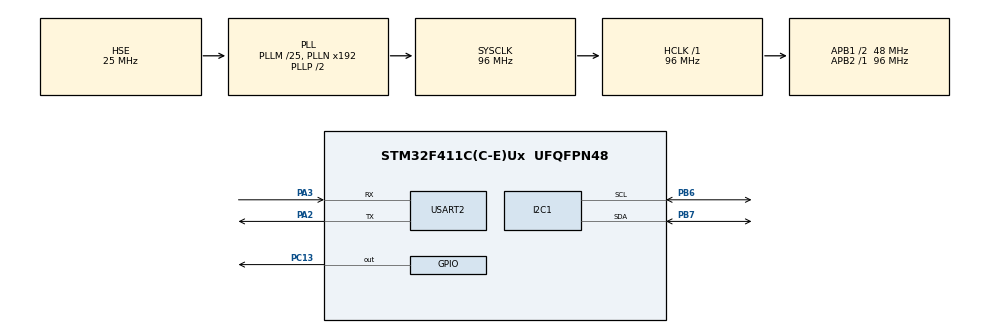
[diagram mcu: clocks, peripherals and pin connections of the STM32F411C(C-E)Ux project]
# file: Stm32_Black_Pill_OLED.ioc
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Mcu.Family=STM32F4
Mcu.Name=STM32F411C(C-E)Ux
Mcu.Package=UFQFPN48
NVIC.PriorityGroup=NVIC_PRIORITYGROUP_4
NVIC.USART2_IRQn=true\:0\:0\:false\:false\:true\:true\:true\:true
PA13.Mode=Serial_Wire
PA13.Signal=SYS_JTMS-SWDIO
PA14.Mode=Serial_Wire
PA14.Signal=SYS_JTCK-SWCLK
PA2.Mode=Asynchronous
PA2.Signal=USART2_TX
PA3.Mode=Asynchronous
PA3.Signal=USART2_RX
PB6.Mode=I2C
PB6.Signal=I2C1_SCL
PB7.Mode=I2C
PB7.Signal=I2C1_SDA
PC13-ANTI_TAMP.Signal=GPIO_Output
PH0\ -\ OSC_IN.Mode=HSE-External-Oscillator
PH0\ -\ OSC_IN.Signal=RCC_OSC_IN
PH1\ -\ OSC_OUT.Mode=HSE-External-Oscillator
PH1\ -\ OSC_OUT.Signal=RCC_OSC_OUT
ProjectManager.HeapSize=0x200
ProjectManager.StackSize=0x400
ProjectManager.TargetToolchain=MDK-ARM V5.32
RCC.48MHZClocksFreq_Value=48000000
RCC.AHBFreq_Value=96000000
RCC.APB1CLKDivider=RCC_HCLK_DIV2
RCC.APB1Freq_Value=48000000
RCC.APB1TimFreq_Value=96000000
RCC.APB2Freq_Value=96000000
RCC.APB2TimFreq_Value=96000000
RCC.CortexFreq_Value=96000000
RCC.HCLKFreq_Value=96000000
RCC.HSE_VALUE=25000000
RCC.HSI_VALUE=16000000
RCC.LSE_VALUE=32768
RCC.PLLM=25
RCC.PLLSourceVirtual=RCC_PLLSOURCE_HSE
RCC.SYSCLKFreq_VALUE=96000000
RCC.SYSCLKSource=RCC_SYSCLKSOURCE_PLLCLK
RCC.VCOOutputFreq_Value=192000000
USART2.VirtualMode=VM_ASYNC
board=custom

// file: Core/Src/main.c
/* USER CODE BEGIN Header */
/**
  ******************************************************************************
  * @file           : main.c
  * @brief          : Main program body
  ******************************************************************************
  * @attention
  *
  * Copyright (c) 2024 STMicroelectronics.
  * All rights reserved.
  *
  * This software is licensed under terms that can be found in the LICENSE file
  * in the root directory of this software component.
  * If no LICENSE file comes with this software, it is provided AS-IS.
  *
  ******************************************************************************
  */
/* USER CODE END Header */
#include "main.h"

/* USER CODE BEGIN PD */
#define I2C_ADDRESS       0x78
#define I2C_ID_ADDRESS    0xD0
#define I2C_TIMEOUT       10

#define OLED_adress 0x78
#define OLED_SETCONTRAST 0x81
#define OLED_DISPLAYALLON_RESUME 0xA4
#define OLED_DISPLAYALLON 0xA5
#define OLED_NORMALDISPLAY 0xA6
#define OLED_INVERTDISPLAY 0xA7
#define OLED_DISPLAYOFF 0xAE
#define OLED_DISPLAYON 0xAF
#define OLED_SETDISPLAYOFFSET 0xD3
#define OLED_SETCOMPINS 0xDA
#define OLED_SETVCOMDETECT 0xDB
#define OLED_SETDISPLAYCLOCKDIV 0xD5
#define OLED_SETPRECHARGE 0xD9
#define OLED_SETMULTIPLEX 0xA8
#define OLED_SETLOWCOLUMN 0x00
#define OLED_SETHIGHCOLUMN 0x10
#define OLED_SETSTARTLINE 0x40
#define OLED_MEMORYMODE 0x20
#define OLED_COLUMNADDR 0x21
#define OLED_PAGEADDR 0x22
#define OLED_COMSCANINC 0xC0
#define OLED_COMSCANDEC 0xC8
#define OLED_SEGREMAP 0xA0
#define OLED_CHARGEPUMP 0x8D
#define OLED_SWITCHCAPVCC 0x2
#define OLED_NOP 0xE3

#define OLED_WIDTH 128
#define OLED_HEIGHT 32
#define OLED_BUFFERSIZE (OLED_WIDTH*OLED_HEIGHT)/8
#define OLED_DEFAULT_SPACE 5

#define COMAND 0x00
#define DATA 0x40
/* USER CODE END PD */

// I2C struct
I2C_HandleTypeDef hi2c1;

// UART struct
UART_HandleTypeDef huart2;

// Byte array to receive
uint8_t reciverBuffer[128];
// Received bytes counter
uint8_t bytesRecivedCounter=1;
// Receive successfull flag
uint8_t dataReceived=0;

uint8_t temp[2] = {0,0};
uint8_t temp_char[7] = {0,0,0,0,0,0,0};
unsigned char LCD_X, LCD_Y;

// ASCII table
unsigned char LCD_Buffer[0x0500] = {
	0x00, 0x00, 0x00, 0x00, 0x00,// 00
	0x00, 0x00, 0x5F, 0x00, 0x00,// 01
	0x00, 0x07, 0x00, 0x07, 0x00,// 02
	0x14, 0x7F, 0x14, 0x7F, 0x14,// 03
	0x24, 0x2A, 0x7F, 0x2A, 0x12,// 04
	0x23, 0x13, 0x08, 0x64, 0x62,// 05
	0x36, 0x49, 0x55, 0x22, 0x50,// 06
	0x00, 0x05, 0x03, 0x00, 0x00,// 07
	0x00, 0x1C, 0x22, 0x41, 0x00,// 08
	0x00, 0x41, 0x22, 0x1C, 0x00,// 09
	0x14, 0x08, 0x3E, 0x08, 0x14,// 0A
	0x08, 0x08, 0x3E, 0x08, 0x08,// 0B
	0x00, 0x50, 0x30, 0x00, 0x00,// 0C
	0x08, 0x08, 0x08, 0x08, 0x08,// 0D
	0x00, 0x60, 0x60, 0x00, 0x00,// 0E
	0x20, 0x10, 0x08, 0x04, 0x02,// 0F
	0x00, 0x00, 0x00, 0x00, 0x00,// 10
	0x00, 0x00, 0x5F, 0x00, 0x00,// 11
	0x00, 0x07, 0x00, 0x07, 0x00,// 12
	0x14, 0x7F, 0x14, 0x7F, 0x14,// 13
	0x24, 0x2A, 0x7F, 0x2A, 0x12,// 14
	0x23, 0x13, 0x08, 0x64, 0x62,// 15
	0x36, 0x49, 0x55, 0x22, 0x50,// 16
	0x00, 0x05, 0x03, 0x00, 0x00,// 17
	0x00, 0x1C, 0x22, 0x41, 0x00,// 18
	0x00, 0x41, 0x22, 0x1C, 0x00,// 19
	0x14, 0x08, 0x3E, 0x08, 0x14,// 1A
	0x08, 0x08, 0x3E, 0x08, 0x08,// 1B
	0x00, 0x50, 0x30, 0x00, 0x00,// 1C
	0x08, 0x08, 0x08, 0x08, 0x08,// 1D
	0x00, 0x60, 0x60, 0x00, 0x00,// 1E
	0x20, 0x10, 0x08, 0x04, 0x02,// 1F
	0x00, 0x00, 0x00, 0x00, 0x00,// 20 space
	0x00, 0x00, 0x5F, 0x00, 0x00,// 21 !
	0x00, 0x07, 0x00, 0x07, 0x00,// 22 "
	0x14, 0x7F, 0x14, 0x7F, 0x14,// 23 #
	0x24, 0x2A, 0x7F, 0x2A, 0x12,// 24 $
	0x23, 0x13, 0x08, 0x64, 0x62,// 25 %
	0x36, 0x49, 0x55, 0x22, 0x50,// 26 &
	0x00, 0x05, 0x03, 0x00, 0x00,// 27 '
	0x00, 0x1C, 0x22, 0x41, 0x00,// 28 (
	0x00, 0x41, 0x22, 0x1C, 0x00,// 29 )
	0x14, 0x08, 0x3E, 0x08, 0x14,// 2a *
	0x08, 0x08, 0x3E, 0x08, 0x08,// 2b +
	0x00, 0x50, 0x30, 0x00, 0x00,// 2c ,
	0x08, 0x08, 0x08, 0x08, 0x08,// 2d -
	0x00, 0x60, 0x60, 0x00, 0x00,// 2e .
	0x20, 0x10, 0x08, 0x04, 0x02,// 2f /
	0x3E, 0x51, 0x49, 0x45, 0x3E,// 30 0
	0x00, 0x42, 0x7F, 0x40, 0x00,// 31 1
	0x42, 0x61, 0x51, 0x49, 0x46,// 32 2
	0x21, 0x41, 0x45, 0x4B, 0x31,// 33 3
	0x18, 0x14, 0x12, 0x7F, 0x10,// 34 4
	0x27, 0x45, 0x45, 0x45, 0x39,// 35 5
	0x3C, 0x4A, 0x49, 0x49, 0x30,// 36 6
	0x01, 0x71, 0x09, 0x05, 0x03,// 37 7
	0x36, 0x49, 0x49, 0x49, 0x36,// 38 8
	0x06, 0x49, 0x49, 0x29, 0x1E,// 39 9
	0x00, 0x36, 0x36, 0x00, 0x00,// 3a :
	0x00, 0x56, 0x36, 0x00, 0x00,// 3b ;
	0x08, 0x14, 0x22, 0x41, 0x00,// 3c <
	0x14, 0x14, 0x14, 0x14, 0x14,// 3d =
	0x00, 0x41, 0x22, 0x14, 0x08,// 3e >
	0x02, 0x01, 0x51, 0x09, 0x06,// 3f ?
	0x32, 0x49, 0x79, 0x41, 0x3E,// 40 @
	0x7E, 0x11, 0x11, 0x11, 0x7E,// 41 A
	0x7F, 0x49, 0x49, 0x49, 0x36,// 42 B
	0x3E, 0x41, 0x41, 0x41, 0x22,// 43 C
	0x7F, 0x41, 0x41, 0x22, 0x1C,// 44 D
	0x7F, 0x49, 0x49, 0x49, 0x41,// 45 E
	0x7F, 0x09, 0x09, 0x09, 0x01,// 46 F
	0x3E, 0x41, 0x49, 0x49, 0x7A,// 47 G
	0x7F, 0x08, 0x08, 0x08, 0x7F,// 48 H
	0x00, 0x41, 0x7F, 0x41, 0x00,// 49 I
	0x20, 0x40, 0x41, 0x3F, 0x01,// 4a J
	0x7F, 0x08, 0x14, 0x22, 0x41,// 4b K
	0x7F, 0x40, 0x40, 0x40, 0x40,// 4c L
	0x7F, 0x02, 0x0C, 0x02, 0x7F,// 4d M
	0x7F, 0x04, 0x08, 0x10, 0x7F,// 4e N
	0x3E, 0x41, 0x41, 0x41, 0x3E,// 4f O
	0x7F, 0x09, 0x09, 0x09, 0x06,// 50 P
	0x3E, 0x41, 0x51, 0x21, 0x5E,// 51 Q
	0x7F, 0x09, 0x19, 0x29, 0x46,// 52 R
	0x46, 0x49, 0x49, 0x49, 0x31,// 53 S
	0x01, 0x01, 0x7F, 0x01, 0x01,// 54 T
	0x3F, 0x40, 0x40, 0x40, 0x3F,// 55 U
	0x1F, 0x20, 0x40, 0x20, 0x1F,// 56 V
	0x3F, 0x40, 0x38, 0x40, 0x3F,// 57 W
	0x63, 0x14, 0x08, 0x14, 0x63,// 58 X
	0x07, 0x08, 0x70, 0x08, 0x07,// 59 Y
	0x61, 0x51, 0x49, 0x45, 0x43,// 5a Z
	0x00, 0x7F, 0x41, 0x41, 0x00,// 5b [
	0x02, 0x04, 0x08, 0x10, 0x20,// 5c Yen Currency Sign
	0x00, 0x41, 0x41, 0x7F, 0x00,// 5d ]
	0x04, 0x02, 0x01, 0x02, 0x04,// 5e ^
	0x40, 0x40, 0x40, 0x40, 0x40,// 5f _
	0x00, 0x01, 0x02, 0x04, 0x00,// 60 `
	0x20, 0x54, 0x54, 0x54, 0x78,// 61 a
	0x7F, 0x48, 0x44, 0x44, 0x38,// 62 b
	0x38, 0x44, 0x44, 0x44, 0x20,// 63 c
	0x38, 0x44, 0x44, 0x48, 0x7F,// 64 d
	0x38, 0x54, 0x54, 0x54, 0x18,// 65 e
	0x08, 0x7E, 0x09, 0x01, 0x02,// 66 f
	0x0C, 0x52, 0x52, 0x52, 0x3E,// 67 g
	0x7F, 0x08, 0x04, 0x04, 0x78,// 68 h
	0x00, 0x44, 0x7D, 0x40, 0x00,// 69 i
	0x20, 0x40, 0x44, 0x3D, 0x00,// 6a j
	0x7F, 0x10, 0x28, 0x44, 0x00,// 6b k
	0x00, 0x41, 0x7F, 0x40, 0x00,// 6c l
	0x7C, 0x04, 0x18, 0x04, 0x78,// 6d m
	0x7C, 0x08, 0x04, 0x04, 0x78,// 6e n
	0x38, 0x44, 0x44, 0x44, 0x38,// 6f o
	0x7C, 0x14, 0x14, 0x14, 0x08,// 70 p
	0x08, 0x14, 0x14, 0x18, 0x7C,// 71 q
	0x7C, 0x08, 0x04, 0x04, 0x08,// 72 r
	0x08, 0x54, 0x54, 0x54, 0x20,// 73 s
	0x04, 0x3F, 0x44, 0x40, 0x20,// 74 t
	0x3C, 0x40, 0x40, 0x20, 0x7C,// 75 u
	0x1C, 0x20, 0x40, 0x20, 0x1C,// 76 v
	0x3C, 0x40, 0x30, 0x40, 0x3C,// 77 w
	0x44, 0x28, 0x10, 0x28, 0x44,// 78 x
	0x0C, 0x50, 0x50, 0x50, 0x3C,// 79 y
	0x44, 0x64, 0x54, 0x4C, 0x44,// 7a z
	0x00, 0x08, 0x36, 0x41, 0x00,// 7b <
	0x00, 0x00, 0x7F, 0x00, 0x00,// 7c |
	0x00, 0x41, 0x36, 0x08, 0x00,// 7d >
	0x10, 0x08, 0x08, 0x10, 0x08,// 7e Right Arrow ->
	0x78, 0x46, 0x41, 0x46, 0x78,// 7f Left Arrow <-
	0x00, 0x00, 0x00, 0x00, 0x00,// 80
	0x00, 0x00, 0x5F, 0x00, 0x00,// 81
	0x00, 0x07, 0x00, 0x07, 0x00,// 82
	0x14, 0x7F, 0x14, 0x7F, 0x14,// 83
	0x24, 0x2A, 0x7F, 0x2A, 0x12,// 84
	0x23, 0x13, 0x08, 0x64, 0x62,// 85
	0x36, 0x49, 0x55, 0x22, 0x50,// 86
	0x00, 0x05, 0x03, 0x00, 0x00,// 87
	0x00, 0x1C, 0x22, 0x41, 0x00,// 88
	0x00, 0x41, 0x22, 0x1C, 0x00,// 89
	0x14, 0x08, 0x3E, 0x08, 0x14,// 8A
	0x08, 0x08, 0x3E, 0x08, 0x08,// 8B
	0x00, 0x50, 0x30, 0x00, 0x00,// 8C
	0x08, 0x08, 0x08, 0x08, 0x08,// 8D
	0x00, 0x60, 0x60, 0x00, 0x00,// 8E
	0x20, 0x10, 0x08, 0x04, 0x02,// 8F
	0x00, 0x00, 0x00, 0x00, 0x00,// 90
	0x00, 0x00, 0x5F, 0x00, 0x00,// 91
	0x00, 0x07, 0x00, 0x07, 0x00,// 92
	0x14, 0x7F, 0x14, 0x7F, 0x14,// 93
	0x24, 0x2A, 0x7F, 0x2A, 0x12,// 94
	0x23, 0x13, 0x08, 0x64, 0x62,// 95
	0x36, 0x49, 0x55, 0x22, 0x50,// 96
	0x00, 0x05, 0x03, 0x00, 0x00,// 97
	0x00, 0x1C, 0x22, 0x41, 0x00,// 98
	0x00, 0x41, 0x22, 0x1C, 0x00,// 99
	0x14, 0x08, 0x3E, 0x08, 0x14,// 9A
	0x08, 0x08, 0x3E, 0x08, 0x08,// 9B
	0x00, 0x50, 0x30, 0x00, 0x00,// 9C
	0x08, 0x08, 0x08, 0x08, 0x08,// 9D
	0x00, 0x60, 0x60, 0x00, 0x00,// 9E
	0x20, 0x10, 0x08, 0x04, 0x02,// 9F
	0x00, 0x00, 0x00, 0x00, 0x00,// A0
	0x00, 0x00, 0x5F, 0x00, 0x00,// A1
	0x00, 0x07, 0x00, 0x07, 0x00,// A2
	0x14, 0x7F, 0x14, 0x7F, 0x14,// A3
	0x24, 0x2A, 0x7F, 0x2A, 0x12,// A4
	0x23, 0x13, 0x08, 0x64, 0x62,// A5
	0x36, 0x49, 0x55, 0x22, 0x50,// A6
	0x00, 0x05, 0x03, 0x00, 0x00,// A7
	0x00, 0x1C, 0x22, 0x41, 0x00,// A8
	0x00, 0x41, 0x22, 0x1C, 0x00,// A9
	0x14, 0x08, 0x3E, 0x08, 0x14,// AA
	0x08, 0x08, 0x3E, 0x08, 0x08,// AB
	0x00, 0x50, 0x30, 0x00, 0x00,// AC
	0x08, 0x08, 0x08, 0x08, 0x08,// AD
	0x00, 0x60, 0x60, 0x00, 0x00,// AE
	0x20, 0x10, 0x08, 0x04, 0x02,// AF
	//0x3E, 0x51, 0x49, 0x45, 0x3E,// B0
	0x00, 0x06, 0x09, 0x09, 0x06,
	0x00, 0x42, 0x7F, 0x40, 0x00,// B1
	0x42, 0x61, 0x51, 0x49, 0x46,// B2
	0x21, 0x41, 0x45, 0x4B, 0x31,// B3
	0x18, 0x14, 0x12, 0x7F, 0x10,// B4
	0x27, 0x45, 0x45, 0x45, 0x39,// B5
	0x3C, 0x4A, 0x49, 0x49, 0x30,// B6
	0x01, 0x71, 0x09, 0x05, 0x03,// B7
	0x36, 0x49, 0x49, 0x49, 0x36,// B8
	0x06, 0x49, 0x49, 0x29, 0x1E,// B9
	0x00, 0x36, 0x36, 0x00, 0x00,// BA
	0x00, 0x56, 0x36, 0x00, 0x00,// BB
	0x08, 0x14, 0x22, 0x41, 0x00,// BC
	0x14, 0x14, 0x14, 0x14, 0x14,// BD
	0x00, 0x41, 0x22, 0x14, 0x08,// BE
	0x02, 0x01, 0x51, 0x09, 0x06,// BF
	0x7E, 0x11, 0x11, 0x11, 0x7E,// C0 ?
	0x7F, 0x49, 0x49, 0x49, 0x31,// C1 ?
	0x7F, 0x49, 0x49, 0x49, 0x36,// C2 ?
	0x7F, 0x01, 0x01, 0x01, 0x03,// C3 ?
	0x60, 0x3E, 0x21, 0x21, 0x7F,// C4 ?
	0x7F, 0x49, 0x49, 0x49, 0x41,// C5 ?
	0x77, 0x08, 0x7F, 0x08, 0x77,// C6 ?
	0x22, 0x41, 0x49, 0x49, 0x36,// C7 ?
	0x7F, 0x10, 0x08, 0x04, 0x7F,// C8 ?
	0x7F, 0x10, 0x09, 0x04, 0x7F,// C9 ?
	0x7F, 0x08, 0x14, 0x22, 0x41,// CA ?
	0x40, 0x3E, 0x01, 0x01, 0x7F,// CB ?
	0x7F, 0x02, 0x0C, 0x02, 0x7F,// CC ?
	0x7F, 0x08, 0x08, 0x08, 0x7F,// CD ?
	0x3E, 0x41, 0x41, 0x41, 0x3E,// CE ?
	0x7F, 0x01, 0x01, 0x01, 0x7F,// CF ?
	0x7F, 0x09, 0x09, 0x09, 0x06,// D0 ?
	0x3E, 0x41, 0x41, 0x41, 0x22,// D1 ?
	0x01, 0x01, 0x7F, 0x01, 0x01,// D2 ?
	0x27, 0x48, 0x48, 0x48, 0x3F,// D3 ?
	0x1E, 0x21, 0x7F, 0x21, 0x1E,// D4 ?
	0x63, 0x14, 0x08, 0x14, 0x63,// D5 ?
	0x3F, 0x20, 0x20, 0x3F, 0x60,// D6 ?
	0x07, 0x08, 0x08, 0x08, 0x7F,// D7 ?
	0x7F, 0x40, 0x7F, 0x40, 0x7F,// D8 ?
	0x3F, 0x20, 0x3F, 0x20, 0x7F,// D9 ?
	0x01, 0x7F, 0x48, 0x48, 0x30,// DA ?
	0x7F, 0x48, 0x30, 0x00, 0x7F,// DB ?
	0x00, 0x7F, 0x48, 0x48, 0x30,// DC ?
	0x22, 0x41, 0x49, 0x49, 0x3E,// DD ?
	0x7F, 0x08, 0x3E, 0x41, 0x3E,// DE ?
	0x46, 0x29, 0x19, 0x09, 0x7F,// DF ?
	0x20, 0x54, 0x54, 0x54, 0x78,// E0 ?
	0x3C, 0x4A, 0x4A, 0x4A, 0x30,// E1 ?
	0x7C, 0x54, 0x54, 0x28, 0x00,// E2 ?
	0x7C, 0x04, 0x04, 0x04, 0x04,// E3 ?
	0x60, 0x38, 0x24, 0x24, 0x7C,// E4 ?
	0x38, 0x54, 0x54, 0x54, 0x18,// E5 ?
	0x6C, 0x10, 0x7C, 0x10, 0x6C,// E6 ?
	0x00, 0x44, 0x54, 0x54, 0x28,// E7 ?
	0x7C, 0x20, 0x10, 0x08, 0x7C,// E8 ?
	0x7C, 0x21, 0x12, 0x09, 0x7C,// E9 ?
	0x7C, 0x10, 0x28, 0x44, 0x00,// EA ?
	0x40, 0x38, 0x04, 0x04, 0x7C,// EB ?
	0x7C, 0x08, 0x10, 0x08, 0x7C,// EC ?
	0x7C, 0x10, 0x10, 0x10, 0x7C,// ED ?
	0x38, 0x44, 0x44, 0x44, 0x38,// EE ?
	0x7C, 0x04, 0x04, 0x04, 0x7C,// EF ?
	0x7C, 0x14, 0x14, 0x14, 0x08,// F0 ?
	0x38, 0x44, 0x44, 0x44, 0x00,// F1 ?
	0x04, 0x04, 0x7C, 0x04, 0x04,// F2 ?
	0x0C, 0x50, 0x50, 0x50, 0x3C,// F3 ?
	0x08, 0x14, 0x7C, 0x14, 0x08,// F4 ?
	0x44, 0x28, 0x10, 0x28, 0x44,// F5 ?
	0x3C, 0x20, 0x20, 0x3C, 0x60,// F6 ?
	0x0C, 0x10, 0x10, 0x10, 0x7C,// F7 ?
	0x7C, 0x40, 0x7C, 0x40, 0x7C,// F8 ?
	0x3C, 0x20, 0x3C, 0x20, 0x7C,// F9 ?
	0x04, 0x7C, 0x50, 0x50, 0x20,// FA ?
	0x7C, 0x50, 0x20, 0x00, 0x7C,// FB ?
	0x00, 0x7C, 0x50, 0x50, 0x20,// FC ?
	0x28, 0x44, 0x54, 0x54, 0x38,// FD ?
	0x7C, 0x10, 0x38, 0x44, 0x38,// FE ?
	0x48, 0x54, 0x34, 0x14, 0x7C // FF ?
};

void SystemClock_Config(void);
static void MX_GPIO_Init(void);
static void MX_I2C1_Init(void);
static void MX_USART2_UART_Init(void);

static void oledInit(void);
static void oledWriteCmd(uint8_t);
static void oledWriteData(uint8_t);
static void oledPrintChar(char);
static void oledPrintString(char*);
static void oledClear(void);
static void oledSetCursor(uint8_t, uint8_t);

int main(void)
{

  /* MCU Configuration--------------------------------------------------------*/

  /* Reset of all peripherals, Initializes the Flash interface and the Systick. */
  HAL_Init();

  /* Configure the system clock */
  SystemClock_Config();

  /* Initialize all configured peripherals */
  MX_GPIO_Init();
  MX_I2C1_Init();
  MX_USART2_UART_Init();

  /* USER CODE BEGIN 2 */
	oledInit();
	oledClear();
	oledSetCursor(0, 1);

	HAL_UART_Receive_IT(&huart2, reciverBuffer, 1);
  /* USER CODE END 2 */

  /* Infinite loop */
  /* USER CODE BEGIN WHILE */
  while (1) {
		HAL_GPIO_WritePin(GPIOC, GPIO_PIN_13, GPIO_PIN_SET);

		// If the appointment is over
		if (dataReceived == 1) {
			// Turning on the LED
			HAL_GPIO_WritePin(GPIOC, GPIO_PIN_13, GPIO_PIN_RESET);
			oledClear();
			oledSetCursor(0, 1);
			// Printing the received byte array, that is, a string in ASCII encoding
			oledPrintString((char*)reciverBuffer);
			dataReceived=0;
		}
  }
}

void oledInit() {
	  // Turn display off
		oledWriteCmd(OLED_DISPLAYOFF);

		oledWriteCmd(OLED_SETDISPLAYCLOCKDIV);
		oledWriteCmd(0x80);

		oledWriteCmd(OLED_SETMULTIPLEX);
		oledWriteCmd(0x1F);//128x32
		//oledWriteCmd(0x3F);//128x64

		oledWriteCmd(OLED_SETDISPLAYOFFSET);
		oledWriteCmd(0x00);

		oledWriteCmd(OLED_SETSTARTLINE | 0x00);//0

		// We use internal charge pump
		oledWriteCmd(OLED_CHARGEPUMP);
		oledWriteCmd(0x14);

		// Horizontal memory mode
		oledWriteCmd(OLED_MEMORYMODE);
		oledWriteCmd(0x00);

		oledWriteCmd(OLED_SEGREMAP | 0x1);

		oledWriteCmd(OLED_COMSCANDEC);

		oledWriteCmd(OLED_SETCOMPINS);
		oledWriteCmd(0x02);//128x32
		//oledWriteCmd(0x12);//128x64

		// Max contrast
		oledWriteCmd(OLED_SETCONTRAST);
		//oledWriteCmd(0x0F);//0xCF
		oledWriteCmd(0xCF);//0xCF

		oledWriteCmd(OLED_SETPRECHARGE);
		oledWriteCmd(0xF1);

		oledWriteCmd(OLED_SETVCOMDETECT);
		//oledWriteCmd(0x10);//0x40
		oledWriteCmd(0x40);//0x40

		oledWriteCmd(OLED_DISPLAYALLON_RESUME);

		// Non-inverted display
		oledWriteCmd(OLED_NORMALDISPLAY);

		// Turn display back on
		oledWriteCmd(OLED_DISPLAYON);
}

// Command write function
void oledWriteCmd(uint8_t cmd) {
	temp[0] = COMAND;
	temp[1] = cmd;
	HAL_I2C_Master_Transmit(&hi2c1, OLED_adress, temp, 2,100);
}

// Data write function
void oledWriteData(uint8_t data) {
	temp[0] = DATA;
	temp[1] = data;
	HAL_I2C_Master_Transmit(&hi2c1, OLED_adress, temp, 2,100);
}

// Function to set the cursor to a position
void oledSetCursor(uint8_t x, uint8_t y){
	LCD_X = x;
	LCD_Y = y;
	oledWriteCmd(0xB0 + y);
	oledWriteCmd(x & 0xf);
	oledWriteCmd(0x10 | (x >> 4));
}

// Display clear function
void oledClear(void) {
	unsigned short i;
	unsigned short x = 0;
	unsigned short y = 0;
	oledSetCursor(0,0);

	for (i = 0; i < OLED_BUFFERSIZE; i++) /*(SSD1306_LCDWIDTH*SSD1306_LCDHEIGHT/8)*/ {
		oledPrintChar(' ');
		x++;
		if(x > OLED_WIDTH) {
			x =0;
			y++;
			oledSetCursor(0, y);
		}
	}
	LCD_X = OLED_DEFAULT_SPACE;
	LCD_Y = 0;
}

// Function of printing a symbol on the display
void oledPrintChar(char c) {
	unsigned char x = 0;
	temp_char[0] = 0x40;
	for (x = 0; x < 5; x++) {
		temp_char[x+1] = LCD_Buffer[c*5+x];
	}
	temp_char[6] = 0;
	HAL_I2C_Master_Transmit(&hi2c1, OLED_adress, temp_char, 7,1000);

	LCD_X += 8;
	if(LCD_X > OLED_WIDTH){
		LCD_X = OLED_DEFAULT_SPACE;
	}
}

// Function of printing a string to the display
void oledPrintString(char *string) {
	while(*string != '\0') {
		oledPrintChar(*string);
		string++;
	}
}

// UART callback
void HAL_UART_RxCpltCallback(UART_HandleTypeDef *huart) {
  if(huart == &huart2) {
		// Resetting the end of reception flag
		dataReceived=0;
		// If the reciverBuffer is not full and if the end of transmission character is not encountered
		if (bytesRecivedCounter < 127 && *(reciverBuffer+bytesRecivedCounter-1) != 0x00 ) {
			// Arming the UART to receive the next byte into the next buffer cell
			HAL_UART_Receive_IT(&huart2, reciverBuffer+bytesRecivedCounter, 1);
			bytesRecivedCounter++;
		} else {
			// Resetting the byte received counter
			bytesRecivedCounter=1;
			// Setting the transmission end flag
			dataReceived=1;
			HAL_UART_Receive_IT(&huart2, reciverBuffer, 1);
		}
  }
}

/**
  * @brief This function handles USART2 global interrupt.
  */
void USART2_IRQHandler(void)
{
  HAL_UART_IRQHandler(&huart2);
}

void SystemClock_Config(void)
{
  RCC_OscInitTypeDef RCC_OscInitStruct = {0};
  RCC_ClkInitTypeDef RCC_ClkInitStruct = {0};

  /** Configure the main internal regulator output voltage
  */
  __HAL_RCC_PWR_CLK_ENABLE();
  __HAL_PWR_VOLTAGESCALING_CONFIG(PWR_REGULATOR_VOLTAGE_SCALE1);

  /** Initializes the RCC Oscillators according to the specified parameters
  * in the RCC_OscInitTypeDef structure.
  */
  RCC_OscInitStruct.OscillatorType = RCC_OSCILLATORTYPE_HSE;
  RCC_OscInitStruct.HSEState = RCC_HSE_ON;
  RCC_OscInitStruct.PLL.PLLState = RCC_PLL_ON;
  RCC_OscInitStruct.PLL.PLLSource = RCC_PLLSOURCE_HSE;
  RCC_OscInitStruct.PLL.PLLM = 25;
  RCC_OscInitStruct.PLL.PLLN = 192;
  RCC_OscInitStruct.PLL.PLLP = RCC_PLLP_DIV2;
  RCC_OscInitStruct.PLL.PLLQ = 4;
  if (HAL_RCC_OscConfig(&RCC_OscInitStruct) != HAL_OK)
  {
    Error_Handler();
  }

  /** Initializes the CPU, AHB and APB buses clocks
  */
  RCC_ClkInitStruct.ClockType = RCC_CLOCKTYPE_HCLK|RCC_CLOCKTYPE_SYSCLK
                              |RCC_CLOCKTYPE_PCLK1|RCC_CLOCKTYPE_PCLK2;
  RCC_ClkInitStruct.SYSCLKSource = RCC_SYSCLKSOURCE_PLLCLK;
  RCC_ClkInitStruct.AHBCLKDivider = RCC_SYSCLK_DIV1;
  RCC_ClkInitStruct.APB1CLKDivider = RCC_HCLK_DIV2;
  RCC_ClkInitStruct.APB2CLKDivider = RCC_HCLK_DIV1;

  if (HAL_RCC_ClockConfig(&RCC_ClkInitStruct, FLASH_LATENCY_3) != HAL_OK)
  {
    Error_Handler();
  }
}

static void MX_I2C1_Init(void)
{

  hi2c1.Instance = I2C1;
  hi2c1.Init.ClockSpeed = 100000;
  hi2c1.Init.DutyCycle = I2C_DUTYCYCLE_2;
  hi2c1.Init.OwnAddress1 = 0;
  hi2c1.Init.AddressingMode = I2C_ADDRESSINGMODE_7BIT;
  hi2c1.Init.DualAddressMode = I2C_DUALADDRESS_DISABLE;
  hi2c1.Init.OwnAddress2 = 0;
  hi2c1.Init.GeneralCallMode = I2C_GENERALCALL_DISABLE;
  hi2c1.Init.NoStretchMode = I2C_NOSTRETCH_DISABLE;
  if (HAL_I2C_Init(&hi2c1) != HAL_OK)
  {
    Error_Handler();
  }

}

static void MX_USART2_UART_Init(void)
{

  huart2.Instance = USART2;
  huart2.Init.BaudRate = 115200;
  huart2.Init.WordLength = UART_WORDLENGTH_8B;
  huart2.Init.StopBits = UART_STOPBITS_1;
  huart2.Init.Parity = UART_PARITY_NONE;
  huart2.Init.Mode = UART_MODE_TX_RX;
  huart2.Init.HwFlowCtl = UART_HWCONTROL_NONE;
  huart2.Init.OverSampling = UART_OVERSAMPLING_16;
  if (HAL_UART_Init(&huart2) != HAL_OK)
  {
    Error_Handler();
  }

}

static void MX_GPIO_Init(void)
{
  GPIO_InitTypeDef GPIO_InitStruct = {0};

  /* GPIO Ports Clock Enable */
  __HAL_RCC_GPIOC_CLK_ENABLE();
  __HAL_RCC_GPIOH_CLK_ENABLE();
  __HAL_RCC_GPIOA_CLK_ENABLE();
  __HAL_RCC_GPIOB_CLK_ENABLE();

  /*Configure GPIO pin Output Level */
  HAL_GPIO_WritePin(GPIOC, GPIO_PIN_13, GPIO_PIN_RESET);

  /*Configure GPIO pin : PC13 */
  GPIO_InitStruct.Pin = GPIO_PIN_13;
  GPIO_InitStruct.Mode = GPIO_MODE_OUTPUT_PP;
  GPIO_InitStruct.Pull = GPIO_NOPULL;
  GPIO_InitStruct.Speed = GPIO_SPEED_FREQ_LOW;
  HAL_GPIO_Init(GPIOC, &GPIO_InitStruct);

}

void Error_Handler(void)
{
  __disable_irq();
  while (1)
  {
  }
}
